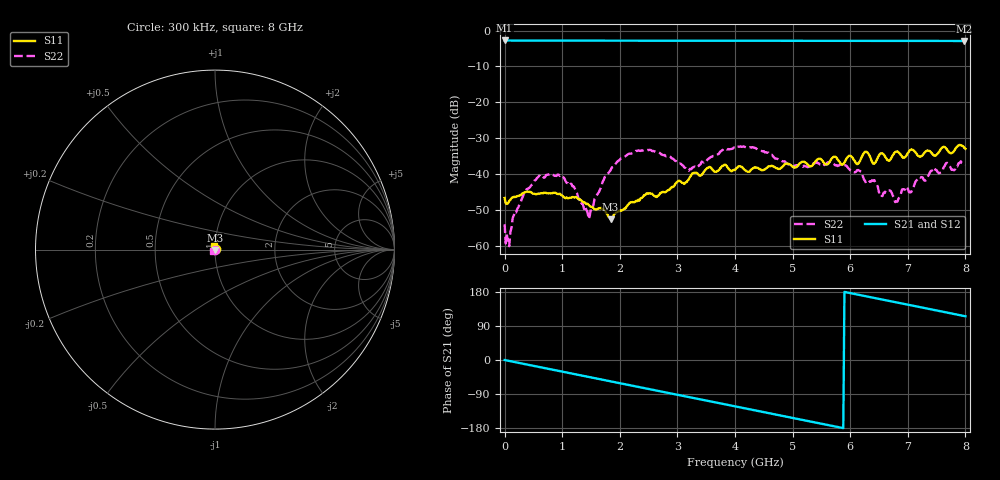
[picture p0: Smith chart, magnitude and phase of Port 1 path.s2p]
! RsaToolbox (C) 2015 Rohde & Schwarz America
! Number of points: 401
! Number of ports: 2
! Balanced ports?: No
# Hz S RI R 50
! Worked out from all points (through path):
!   401 points, 300 kHz to 8 GHz, reference 50 ohm
!   highest |S21| = -2.75 dB at 300 kHz (marker M1); lowest = -2.9 dB at 7.98 GHz (marker M2)
!   group delay of S21, straight-line fit = 84.9 ps
!   lowest |S11| = -52.7 dB at 1.84 GHz (marker M3), VSWR 1.00, Z = 49.9 - j0.222 ohm
!   |S11| at or under -10 dB: start of sweep to end of sweep
!   |S22| runs from -60.1 to -32.3 dB; largest |S21 - S12| = 0
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300000  0.00457 0.000688  0.7286 -0.000417  0.7286 -0.000417  0.000151 -0.00198
6.029775e7  0.00391 -0.000313  0.727 -0.0245  0.727 -0.0245  -0.00108 0.00041
3.402872e8  0.0054 -0.000906  0.7135 -0.1323  0.7135 -0.1323  0.00272 -0.00474
6.002775e8  0.00509 -0.00154  0.6878 -0.2294  0.6878 -0.2294  0.00756 -0.00568
9.802632e8  0.00454 -0.00228  0.6271 -0.3626  0.6271 -0.3626  0.00932 -0.0025
1.34025e9  0.00302 -0.00294  0.5461 -0.4755  0.5461 -0.4755  0.00369 -0.00134
1.480244e9  0.00186 -0.00302  0.509 -0.5148  0.509 -0.5148  0.000419 -0.00261
1.840231e9  -0.000702 -0.00222  0.4013 -0.6021  0.4013 -0.6021  -0.00506 -0.0101
2.300214e9  -0.00416 0.000417  0.243 -0.6811  0.243 -0.6811  -0.00469 -0.0204
2.6802e9  -0.00443 0.00248  0.1011 -0.7158  0.1011 -0.7158  -0.000748 -0.0199
3.20018e9  -0.00791 0.00312  -0.0983 -0.716  -0.0983 -0.716  -0.0054 -0.00973
4.00015e9  -0.00824 0.00781  -0.3855 -0.6102  -0.3855 -0.6102  -0.0205 -0.0103
5.3401e9  -0.00762 0.0106  -0.6895 -0.2073  -0.6895 -0.2073  -0.0135 -0.000672
5.900079e9  -0.0072 0.0126  -0.7194 0.00437  -0.7194 0.00437  -0.0133 -0.00134
6.280064e9  -0.0124 0.0162  -0.7031 0.1494  -0.7031 0.1494  -0.00684 -0.00261
6.40006e9  -0.00883 0.0107  -0.6923 0.1935  -0.6923 0.1935  -0.00767 -0.00264
6.540055e9  -0.0103 0.0164  -0.6756 0.2451  -0.6756 0.2451  -0.00481 -0.00135
6.68005e9  -0.00734 0.0135  -0.6554 0.2946  -0.6554 0.2946  -0.00587 -0.000709
6.820044e9  -0.0111 0.0174  -0.6315 0.3429  -0.6315 0.3429  -0.00411 -0.000409
7.420022e9  -0.0101 0.0165  -0.4906 0.5233  -0.4906 0.5233  -0.0101 -0.00472
7.980001e9  -0.00926 0.0213  -0.314 0.6443  -0.314 0.6443  -0.00919 -0.0102
8e9  -0.00815 0.0209  -0.3071 0.6477  -0.3071 0.6477  -0.00926 -0.00964
